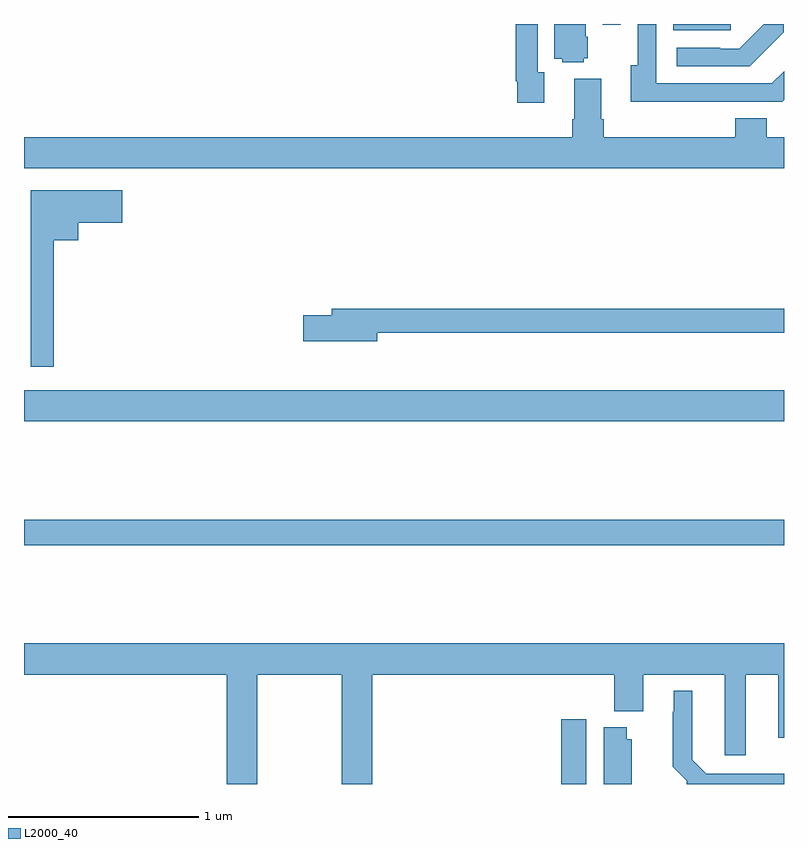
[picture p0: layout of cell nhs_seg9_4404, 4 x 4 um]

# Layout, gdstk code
import gdstk
lib = gdstk.Library(unit=1e-6, precision=1e-09)
def R(c, l, rs):  # rectangles x0, y0, x1, y1
    for r in rs: c.add(gdstk.rectangle(r[:2], r[2:], *l))
def P(c, l, *ps):  # polygons
    for p in ps: c.add(gdstk.Polygon(p, *l))
L2000_40 = (2000, 40)

nhs_seg9_4404 = lib.new_cell('nhs_seg9_4404')
R(nhs_seg9_4404, L2000_40, [(365.828,1206.5,365.959,1206.841), (363,1207.756,367,1207.892), (363,1208.408,367,1208.572), (366.416,1210.467,366.721,1210.5), (366.045,1210.497,366.141,1210.5)])
P(nhs_seg9_4404, L2000_40, [(365.737,1210.247),(365.703,1210.247),(365.703,1210.5),(365.587,1210.5),(365.587,1210.198),(365.595,1210.198),(365.595,1210.086),(365.737,1210.086)],
  [(366.659,1210.092),(366.99,1210.092),(367,1210.102),(367,1210.252),(366.936,1210.188),(366.327,1210.188),(366.327,1210.5),(366.231,1210.5),(366.231,1210.282),(366.194,1210.282),(366.194,1210.091),(366.659,1210.091)],
  [(365.946,1210.32),(365.968,1210.32),(365.968,1210.434),(365.956,1210.434),(365.956,1210.5),(365.792,1210.5),(365.792,1210.316),(365.832,1210.316),(365.832,1210.298),(365.946,1210.298)],
  [(366.999,1210.457),(366.999,1210.5),(366.894,1210.5),(366.765,1210.371),(366.665,1210.371),(366.665,1210.374),(366.435,1210.374),(366.435,1210.278),(366.82,1210.278)],
  [(367,1209.904),(366.908,1209.904),(366.908,1210.003),(366.743,1210.003),(366.743,1209.904),(366.05,1209.904),(366.05,1210),(366.037,1210),(366.037,1210.213),(365.897,1210.213),(365.897,1210),(365.885,1210),(365.885,1209.904),(363,1209.904),(363,1209.74),(367,1209.74)],
  [(363.157,1209.362),(363.286,1209.362),(363.286,1209.455),(363.517,1209.455),(363.517,1209.625),(363.035,1209.625),(363.035,1208.697),(363.157,1208.697)],
  [(364.858,1208.874),(367,1208.874),(367,1209.002),(364.619,1209.002),(364.619,1208.966),(364.47,1208.966),(364.47,1208.831),(364.858,1208.831)],
  [(364.227,1207.076),(364.672,1207.076),(364.672,1206.5),(364.832,1206.5),(364.832,1207.076),(366.107,1207.076),(366.107,1206.884),(366.259,1206.884),(366.259,1207.076),(366.689,1207.076),(366.689,1206.651),(366.799,1206.651),(366.799,1207.076),(366.971,1207.076),(366.971,1206.744),(367,1206.744),(367,1207.24),(363,1207.24),(363,1207.076),(364.067,1207.076),(364.067,1206.5),(364.227,1206.5)],
  [(367,1206.553),(366.591,1206.553),(366.517,1206.628),(366.517,1206.991),(366.419,1206.991),(366.419,1206.881),(366.415,1206.881),(366.415,1206.59),(366.489,1206.516),(366.489,1206.5),(367,1206.5)],
  [(366.199,1206.735),(366.172,1206.735),(366.172,1206.799),(366.05,1206.799),(366.05,1206.5),(366.199,1206.5)])

lib.write_gds('nhs_seg9_4404.gds')
